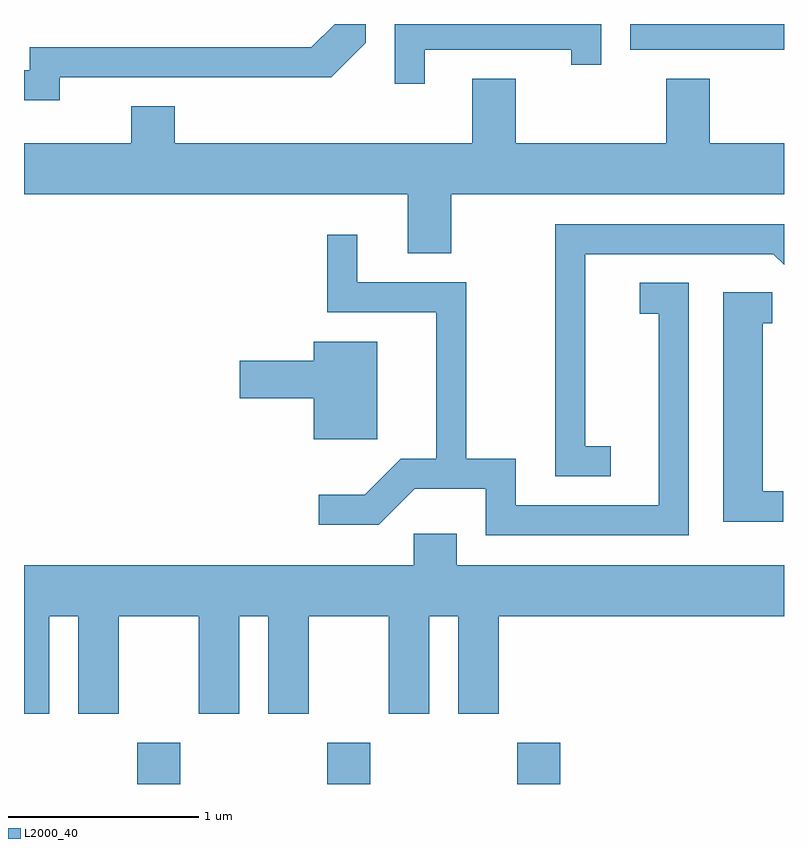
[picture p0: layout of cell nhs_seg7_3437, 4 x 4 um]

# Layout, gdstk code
import gdstk
lib = gdstk.Library(unit=1e-6, precision=1e-09)
def R(c, l, rs):  # rectangles x0, y0, x1, y1
    for r in rs: c.add(gdstk.rectangle(r[:2], r[2:], *l))
def A(c, l, x, y, w, h, nx, ny, dx, dy):  # array of equal rectangles
    R(c, l, [(x+i*dx, y+j*dy, x+i*dx+w, y+j*dy+h) for i in range(nx) for j in range(ny)])
def P(c, l, *ps):  # polygons
    for p in ps: c.add(gdstk.Polygon(p, *l))
L2000_40 = (2000, 40)

nhs_seg7_3437 = lib.new_cell('nhs_seg7_3437')
A(nhs_seg7_3437, L2000_40, 290.206, 1782.252, 0.228, 0.217, 3, 1, 1, 0)
R(nhs_seg7_3437, L2000_40, [(292.801,1786.116,293.611,1786.252)])
P(nhs_seg7_3437, L2000_40, [(291.719,1786.116),(292.491,1786.116),(292.491,1786.038),(292.649,1786.038),(292.649,1786.252),(291.561,1786.252),(291.561,1785.938),(291.719,1785.938)],
  [(289.799,1785.971),(291.227,1785.971),(291.409,1786.154),(291.409,1786.252),(291.246,1786.252),(291.124,1786.129),(289.641,1786.129),(289.641,1786.009),(289.611,1786.009),(289.611,1785.851),(289.799,1785.851)],
  [(291.859,1785.356),(293.611,1785.356),(293.611,1785.624),(293.219,1785.624),(293.219,1785.964),(292.991,1785.964),(292.991,1785.624),(292.199,1785.624),(292.199,1785.964),(291.971,1785.964),(291.971,1785.624),(290.404,1785.624),(290.404,1785.819),(290.176,1785.819),(290.176,1785.624),(289.611,1785.624),(289.611,1785.356),(291.631,1785.356),(291.631,1785.046),(291.859,1785.046)],
  [(292.698,1784.029),(292.564,1784.029),(292.564,1785.041),(293.554,1785.041),(293.611,1784.984),(293.611,1785.199),(292.406,1785.199),(292.406,1783.871),(292.698,1783.871)],
  [(293.109,1784.889),(292.853,1784.889),(292.853,1784.726),(292.951,1784.726),(292.951,1783.719),(292.199,1783.719),(292.199,1783.964),(291.939,1783.964),(291.939,1784.894),(291.364,1784.894),(291.364,1785.143),(291.206,1785.143),(291.206,1784.736),(291.781,1784.736),(291.781,1783.964),(291.594,1783.964),(291.404,1783.774),(291.163,1783.774),(291.163,1783.616),(291.477,1783.616),(291.667,1783.806),(292.041,1783.806),(292.041,1783.561),(293.109,1783.561)],
  [(293.608,1783.794),(293.499,1783.794),(293.499,1784.676),(293.548,1784.676),(293.548,1784.839),(293.291,1784.839),(293.291,1783.631),(293.608,1783.631)],
  [(291.469,1784.579),(291.136,1784.579),(291.136,1784.479),(290.746,1784.479),(290.746,1784.281),(291.136,1784.281),(291.136,1784.066),(291.469,1784.066)],
  [(289.744,1783.136),(289.896,1783.136),(289.896,1782.621),(290.109,1782.621),(290.109,1783.136),(290.531,1783.136),(290.531,1782.621),(290.744,1782.621),(290.744,1783.136),(290.896,1783.136),(290.896,1782.621),(291.109,1782.621),(291.109,1783.136),(291.531,1783.136),(291.531,1782.621),(291.744,1782.621),(291.744,1783.136),(291.896,1783.136),(291.896,1782.621),(292.109,1782.621),(292.109,1783.136),(293.611,1783.136),(293.611,1783.404),(291.889,1783.404),(291.889,1783.569),(291.661,1783.569),(291.661,1783.404),(289.611,1783.404),(289.611,1782.621),(289.744,1782.621)])

lib.write_gds('nhs_seg7_3437.gds')
